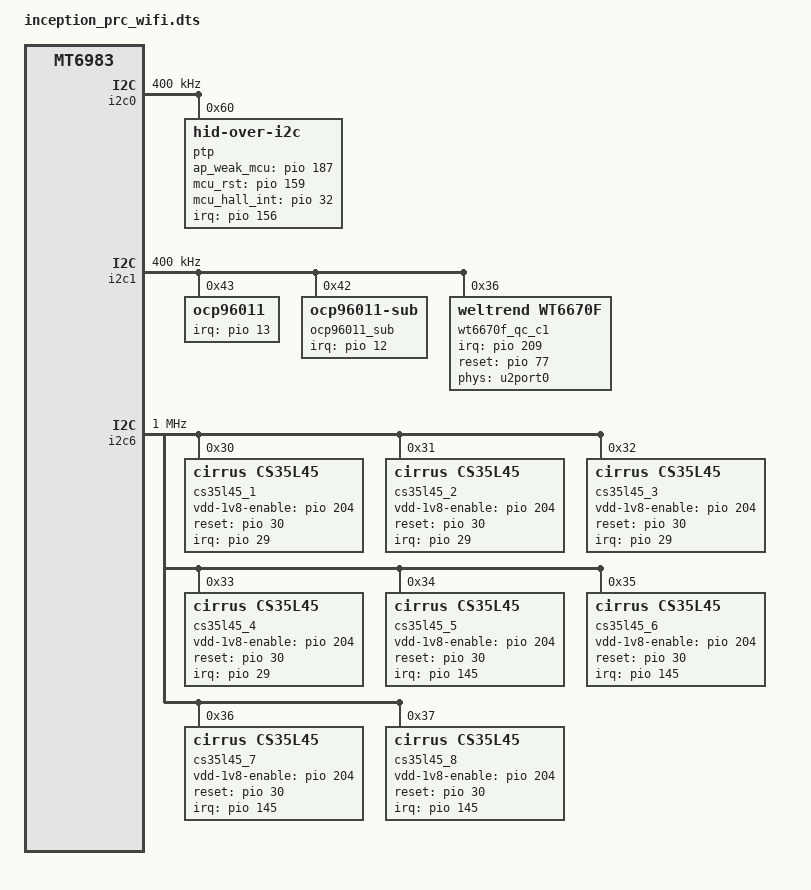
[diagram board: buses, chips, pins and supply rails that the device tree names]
// SPDX-License-Identifier: (GPL-2.0 OR MIT)
/*
 * Copyright (C) 2020 MediaTek Inc.
 */
/dts-v1/;
/plugin/;
#include <dt-bindings/interrupt-controller/arm-gic.h>
#include <dt-bindings/interrupt-controller/irq.h>
#include <dt-bindings/gpio/gpio.h>
#include <dt-bindings/pinctrl/mt6983-pinfunc.h>
#include <dt-bindings/clock/mt6983-clk.h>
#include <dt-bindings/phy/phy.h>

&i2c0 {
	status="okay";
	clock-frequency = <400000>;
	ptp: ptp@60 {
		compatible = "hid-over-i2c";
		reg = <0x60>;
		interrupt-parent = <&pio>;
		interrupts = <156 IRQ_TYPE_LEVEL_LOW 156 0>;
		hid-descr-addr = <0x0001>;
		/* mcu_en_gpio = <&pio 8 0>; */
		ap_weak_mcu = <&pio 187 0>;
		mcu_rst_gpio = <&pio 159 0>;
		mcu_hall_int_gpio = <&pio 32 0>;
		post-power-on-delay-ms = <100>;
	};
};

&i2c1 {
	status="okay";
        clock-frequency = <400000>;

	/*Type-C1 Analog Audio Switch*/
	ocp96011: ocp96011@43 {
		compatible = "ocp96011";
		reg = <0x43>;
		interrupt-parent = <&pio>;
		interrupts = <13 IRQ_TYPE_LEVEL_LOW 13 0>;
		status = "okay";
	};

	/*Type-C2 Analog Audio Switch*/
	ocp96011_sub: ocp96011_sub@42 {
		compatible = "ocp96011-sub";
		reg = <0x42>;
		interrupt-parent = <&pio>;
		interrupts = <12 IRQ_TYPE_LEVEL_LOW 12 0>;
		status = "okay";
	};

	wt6670f_qc_c1: wt6670f@36 {
		compatible = "weltrend,wt6670f";
		reg = <0x36>;

		interrupt-parent = <&pio>;
		interrupts = <209 0>;
		interrupt-names = "wt_irq";
		irq-gpio = <&pio 209 0>;
		wt6670f,reset-gpio = <&pio 77 0>;

		phys = <&u2port0 PHY_TYPE_USB2>;
		phy-names = "usb2-phy";
	};
};

&i2c6 {
	status = "ok";
	clock-frequency = <1000000>;

	/*CS35l45-1L*/
	cs35l45_1: cs35l45@30 {
		#sound-dai-cells = <1>;
		compatible = "cirrus,cs35l45";
		reg = <0x30>;
                vdd-1v8-enable-gpios = <&pio 204 0>;
		reset-gpios = <&pio 30 0>;
		interrupt-parent = <&pio>;
		interrupts = <29 IRQ_TYPE_LEVEL_LOW 29 0>;
		//pinctrl-names = "default";
		//pinctrl-0 = <&cs35l45_1_irq_default>, <&cs35l45_reset_default>, <&cs35l45_1v8_enable>;
		cirrus,use-tdm-slots;
		cirrus,asp-sdout-hiz-ctrl = <0x3>;
		cirrus,dsp-part-name = "SPK1L-cs35l45";
                cirrus,fast-switch = "SPK1L_fast_switch_music.txt", "SPK1L_fast_switch_ring.txt", "SPK1L_fast_switch_voice.txt", "SPK1L_fast_switch_dp.txt";
		cirrus,gpio-ctrl1 {
			gpio-ctrl = <0x2>;
		};

		cirrus,gpio-ctrl2 {
			gpio-ctrl = <0x02>;
		};
                cirrus,bst-bpe-inst-config {
                        bst-bpe-inst-thld = <0x46 0x50 0x55 0x5A 0>;
			bst-bpe-inst-ilim = <0 0x04 0x0C 0x2B 0x2C>;
			bst-bpe-inst-atk-rate = <0 0x1 0x6 0x6 0>;
			bst-bpe-inst-hold-time = <0x2 0x2 0x2 0x2 0>;
			bst-bpe-inst-rls-rate = <0x06 0x06 0x06 0x06 0>;
                };
                cirrus,bst-bpe-misc-config {
                        bst-bpe-inst-inf-hold-rls = <0x0>;
                        bst-bpe-il-lim-mode = <0x1>;
                        bst-bpe-out-opmode-sel = <0x1>;
                        bst-bpe-inst-l3-byp = <0x0>;
                        bst-bpe-inst-l2-byp = <0x1>;
                        bst-bpe-inst-l1-byp = <0x0>;
                        bst-bpe-filt-sel = <0x0>;
                };
	};

	/*CS35l45-1H*/
	cs35l45_2: cs35l45@31 {
		#sound-dai-cells = <1>;
		compatible = "cirrus,cs35l45";
		reg = <0x31>;
                vdd-1v8-enable-gpios = <&pio 204 0>;
		reset-gpios = <&pio 30 0>;
		interrupt-parent = <&pio>;
		interrupts = <29 IRQ_TYPE_LEVEL_LOW 29 0>;
		//pinctrl-names = "default";
		//pinctrl-0 = <&cs35l45_1_irq_default>, <&cs35l45_reset_default>, <&cs35l45_1v8_enable>;
		cirrus,use-tdm-slots;
		cirrus,asp-sdout-hiz-ctrl = <0x3>;
		cirrus,dsp-part-name = "SPK1H-cs35l45";
                cirrus,fast-switch = "SPK1H_fast_switch_music.txt", "SPK1H_fast_switch_ring.txt", "SPK1H_fast_switch_voice.txt", "SPK1H_fast_switch_dp.txt";
		cirrus,gpio-ctrl1 {
			gpio-ctrl = <0x2>;
		};

		cirrus,gpio-ctrl2 {
			gpio-ctrl = <0x02>;
		};
                cirrus,bst-bpe-inst-config {
                        bst-bpe-inst-thld = <0x46 0x50 0x55 0x5A 0>;
			bst-bpe-inst-ilim = <0 0x04 0x0C 0x2B 0x2C>;
			bst-bpe-inst-atk-rate = <0 0x1 0x6 0x6 0>;
			bst-bpe-inst-hold-time = <0x2 0x2 0x2 0x2 0>;
			bst-bpe-inst-rls-rate = <0x06 0x06 0x06 0x06 0>;
                };
                cirrus,bst-bpe-misc-config {
                        bst-bpe-inst-inf-hold-rls = <0x0>;
                        bst-bpe-il-lim-mode = <0x1>;
                        bst-bpe-out-opmode-sel = <0x1>;
                        bst-bpe-inst-l3-byp = <0x0>;
                        bst-bpe-inst-l2-byp = <0x1>;
                        bst-bpe-inst-l1-byp = <0x0>;
                        bst-bpe-filt-sel = <0x0>;
                };
	};

	/*CS35l45-2L*/
	cs35l45_3: cs35l45@32 {
		#sound-dai-cells = <1>;
		compatible = "cirrus,cs35l45";
		reg = <0x32>;
                vdd-1v8-enable-gpios = <&pio 204 0>;
		reset-gpios = <&pio 30 0>;
		interrupt-parent = <&pio>;
		interrupts = <29 IRQ_TYPE_LEVEL_LOW 29 0>;
		//pinctrl-names = "default";
		//pinctrl-0 = <&cs35l45_1_irq_default>, <&cs35l45_reset_default>, <&cs35l45_1v8_enable>;
		cirrus,use-tdm-slots;
		cirrus,asp-sdout-hiz-ctrl = <0x3>;
		cirrus,dsp-part-name = "SPK2L-cs35l45";
                cirrus,fast-switch = "SPK2L_fast_switch_music.txt", "SPK2L_fast_switch_ring.txt", "SPK2L_fast_switch_voice.txt", "SPK2L_fast_switch_dp.txt";
		cirrus,gpio-ctrl1 {
			gpio-ctrl = <0x2>;
		};

		cirrus,gpio-ctrl2 {
			gpio-ctrl = <0x02>;
		};
                cirrus,bst-bpe-inst-config {
                        bst-bpe-inst-thld = <0x46 0x50 0x55 0x5A 0>;
			bst-bpe-inst-ilim = <0 0x04 0x0C 0x2B 0x2C>;
			bst-bpe-inst-atk-rate = <0 0x1 0x6 0x6 0>;
			bst-bpe-inst-hold-time = <0x2 0x2 0x2 0x2 0>;
			bst-bpe-inst-rls-rate = <0x06 0x06 0x06 0x06 0>;
                };
                cirrus,bst-bpe-misc-config {
                        bst-bpe-inst-inf-hold-rls = <0x0>;
                        bst-bpe-il-lim-mode = <0x1>;
                        bst-bpe-out-opmode-sel = <0x1>;
                        bst-bpe-inst-l3-byp = <0x0>;
                        bst-bpe-inst-l2-byp = <0x1>;
                        bst-bpe-inst-l1-byp = <0x0>;
                        bst-bpe-filt-sel = <0x0>;
                };
	};

	/*CS35l45-2H*/
	cs35l45_4: cs35l45@33 {
		#sound-dai-cells = <1>;
		compatible = "cirrus,cs35l45";
		reg = <0x33>;
                vdd-1v8-enable-gpios = <&pio 204 0>;
		reset-gpios = <&pio 30 0>;
		interrupt-parent = <&pio>;
		interrupts = <29 IRQ_TYPE_LEVEL_LOW 29 0>;
		//pinctrl-names = "default";
		//pinctrl-0 = <&cs35l45_1_irq_default>, <&cs35l45_reset_default>, <&cs35l45_1v8_enable>;
		cirrus,use-tdm-slots;
		cirrus,asp-sdout-hiz-ctrl = <0x3>;
		cirrus,dsp-part-name = "SPK2H-cs35l45";
                cirrus,fast-switch = "SPK2H_fast_switch_music.txt", "SPK2H_fast_switch_ring.txt", "SPK2H_fast_switch_voice.txt", "SPK2H_fast_switch_dp.txt";
		cirrus,gpio-ctrl1 {
			gpio-ctrl = <0x2>;
		};

		cirrus,gpio-ctrl2 {
			gpio-ctrl = <0x02>;
		};
                cirrus,bst-bpe-inst-config {
                        bst-bpe-inst-thld = <0x46 0x50 0x55 0x5A 0>;
			bst-bpe-inst-ilim = <0 0x04 0x0C 0x2B 0x2C>;
			bst-bpe-inst-atk-rate = <0 0x1 0x6 0x6 0>;
			bst-bpe-inst-hold-time = <0x2 0x2 0x2 0x2 0>;
			bst-bpe-inst-rls-rate = <0x06 0x06 0x06 0x06 0>;
                };
                cirrus,bst-bpe-misc-config {
                        bst-bpe-inst-inf-hold-rls = <0x0>;
                        bst-bpe-il-lim-mode = <0x1>;
                        bst-bpe-out-opmode-sel = <0x1>;
                        bst-bpe-inst-l3-byp = <0x0>;
                        bst-bpe-inst-l2-byp = <0x1>;
                        bst-bpe-inst-l1-byp = <0x0>;
                        bst-bpe-filt-sel = <0x0>;
                };
	};

	/*CS35l45-3L*/
	cs35l45_5: cs35l45@34 {
		#sound-dai-cells = <1>;
		compatible = "cirrus,cs35l45";
		reg = <0x34>;
                vdd-1v8-enable-gpios = <&pio 204 0>;
		reset-gpios = <&pio 30 0>;
		interrupt-parent = <&pio>;
		interrupts = <145 IRQ_TYPE_LEVEL_LOW 145 0>;
		//pinctrl-names = "default";
		//pinctrl-0 = <&cs35l45_1_irq_default>, <&cs35l45_reset_default>, <&cs35l45_1v8_enable>;
		cirrus,use-tdm-slots;
		cirrus,asp-sdout-hiz-ctrl = <0x3>;
		cirrus,dsp-part-name = "SPK3L-cs35l45";
                cirrus,fast-switch = "SPK3L_fast_switch_music.txt", "SPK3L_fast_switch_ring.txt", "SPK3L_fast_switch_voice.txt", "SPK3L_fast_switch_dp.txt";
		cirrus,gpio-ctrl1 {
			gpio-ctrl = <0x2>;
		};

		cirrus,gpio-ctrl2 {
			gpio-ctrl = <0x02>;
		};
                cirrus,bst-bpe-inst-config {
                        bst-bpe-inst-thld = <0x41 0x46 0x4B 0x50 0>;
			bst-bpe-inst-ilim = <0 0x04 0x0C 0x2B 0x2C>;
			bst-bpe-inst-atk-rate = <0 0x1 0x6 0x6 0>;
			bst-bpe-inst-hold-time = <0x2 0x2 0x2 0x2 0>;
			bst-bpe-inst-rls-rate = <0x06 0x06 0x06 0x06 0>;
                };
                cirrus,bst-bpe-misc-config {
                        bst-bpe-inst-inf-hold-rls = <0x0>;
                        bst-bpe-il-lim-mode = <0x1>;
                        bst-bpe-out-opmode-sel = <0x1>;
                        bst-bpe-inst-l3-byp = <0x0>;
                        bst-bpe-inst-l2-byp = <0x1>;
                        bst-bpe-inst-l1-byp = <0x0>;
                        bst-bpe-filt-sel = <0x0>;
                };
	};

	/*CS35l45-3H*/
	cs35l45_6: cs35l45@35 {
		#sound-dai-cells = <1>;
		compatible = "cirrus,cs35l45";
		reg = <0x35>;
                vdd-1v8-enable-gpios = <&pio 204 0>;
		reset-gpios = <&pio 30 0>;
		interrupt-parent = <&pio>;
		interrupts = <145 IRQ_TYPE_LEVEL_LOW 145 0>;
		//pinctrl-names = "default";
		//pinctrl-0 = <&cs35l45_1_irq_default>, <&cs35l45_reset_default>, <&cs35l45_1v8_enable>;
		cirrus,use-tdm-slots;
		cirrus,asp-sdout-hiz-ctrl = <0x3>;
		cirrus,dsp-part-name = "SPK3H-cs35l45";
                cirrus,fast-switch = "SPK3H_fast_switch_music.txt", "SPK3H_fast_switch_ring.txt", "SPK3H_fast_switch_voice.txt", "SPK3H_fast_switch_dp.txt";
		cirrus,gpio-ctrl1 {
			gpio-ctrl = <0x2>;
		};

		cirrus,gpio-ctrl2 {
			gpio-ctrl = <0x02>;
		};
                cirrus,bst-bpe-inst-config {
                        bst-bpe-inst-thld = <0x41 0x46 0x4B 0x50 0>;
			bst-bpe-inst-ilim = <0 0x04 0x0C 0x2B 0x2C>;
			bst-bpe-inst-atk-rate = <0 0x1 0x6 0x6 0>;
			bst-bpe-inst-hold-time = <0x2 0x2 0x2 0x2 0>;
			bst-bpe-inst-rls-rate = <0x06 0x06 0x06 0x06 0>;
                };
                cirrus,bst-bpe-misc-config {
                        bst-bpe-inst-inf-hold-rls = <0x0>;
                        bst-bpe-il-lim-mode = <0x1>;
                        bst-bpe-out-opmode-sel = <0x1>;
                        bst-bpe-inst-l3-byp = <0x0>;
                        bst-bpe-inst-l2-byp = <0x1>;
                        bst-bpe-inst-l1-byp = <0x0>;
                        bst-bpe-filt-sel = <0x0>;
                };
	};

	/*CS35l45-4L*/
	cs35l45_7: cs35l45@36 {
		#sound-dai-cells = <1>;
		compatible = "cirrus,cs35l45";
		reg = <0x36>;
                vdd-1v8-enable-gpios = <&pio 204 0>;
		reset-gpios = <&pio 30 0>;
		interrupt-parent = <&pio>;
		interrupts = <145 IRQ_TYPE_LEVEL_LOW 145 0>;
		//pinctrl-names = "default";
		//pinctrl-0 = <&cs35l45_1_irq_default>, <&cs35l45_reset_default>, <&cs35l45_1v8_enable>;
		cirrus,use-tdm-slots;
		cirrus,asp-sdout-hiz-ctrl = <0x3>;
		cirrus,dsp-part-name = "SPK4L-cs35l45";
                cirrus,fast-switch = "SPK4L_fast_switch_music.txt", "SPK4L_fast_switch_ring.txt", "SPK4L_fast_switch_voice.txt", "SPK4L_fast_switch_dp.txt";
		cirrus,gpio-ctrl1 {
			gpio-ctrl = <0x2>;
		};

		cirrus,gpio-ctrl2 {
			gpio-ctrl = <0x02>;
		};
                cirrus,bst-bpe-inst-config {
                        bst-bpe-inst-thld = <0x41 0x46 0x4B 0x50 0>;
			bst-bpe-inst-ilim = <0 0x04 0x0C 0x2B 0x2C>;
			bst-bpe-inst-atk-rate = <0 0x1 0x6 0x6 0>;
			bst-bpe-inst-hold-time = <0x2 0x2 0x2 0x2 0>;
			bst-bpe-inst-rls-rate = <0x06 0x06 0x06 0x06 0>;
                };
                cirrus,bst-bpe-misc-config {
                        bst-bpe-inst-inf-hold-rls = <0x0>;
                        bst-bpe-il-lim-mode = <0x1>;
                        bst-bpe-out-opmode-sel = <0x1>;
                        bst-bpe-inst-l3-byp = <0x0>;
                        bst-bpe-inst-l2-byp = <0x1>;
                        bst-bpe-inst-l1-byp = <0x0>;
                        bst-bpe-filt-sel = <0x0>;
                };
	};

	/*CS35l45-4H*/
	cs35l45_8: cs35l45@37 {
		#sound-dai-cells = <1>;
		compatible = "cirrus,cs35l45";
		reg = <0x37>;
                vdd-1v8-enable-gpios = <&pio 204 0>;
		reset-gpios = <&pio 30 0>;
		interrupt-parent = <&pio>;
		interrupts = <145 IRQ_TYPE_LEVEL_LOW 145 0>;
		//pinctrl-names = "default";
		//pinctrl-0 = <&cs35l45_1_irq_default>, <&cs35l45_reset_default>, <&cs35l45_1v8_enable>;
		cirrus,use-tdm-slots;
		cirrus,asp-sdout-hiz-ctrl = <0x3>;
		cirrus,dsp-part-name = "SPK4H-cs35l45";
                cirrus,fast-switch = "SPK4H_fast_switch_music.txt", "SPK4H_fast_switch_ring.txt", "SPK4H_fast_switch_voice.txt", "SPK4H_fast_switch_dp.txt";
		cirrus,gpio-ctrl1 {
			gpio-ctrl = <0x2>;
		};

		cirrus,gpio-ctrl2 {
			gpio-ctrl = <0x02>;
		};
                cirrus,bst-bpe-inst-config {
                        bst-bpe-inst-thld = <0x41 0x46 0x4B 0x50 0>;
			bst-bpe-inst-ilim = <0 0x04 0x0C 0x2B 0x2C>;
			bst-bpe-inst-atk-rate = <0 0x1 0x6 0x6 0>;
			bst-bpe-inst-hold-time = <0x2 0x2 0x2 0x2 0>;
			bst-bpe-inst-rls-rate = <0x06 0x06 0x06 0x06 0>;
                };
                cirrus,bst-bpe-misc-config {
                        bst-bpe-inst-inf-hold-rls = <0x0>;
                        bst-bpe-il-lim-mode = <0x1>;
                        bst-bpe-out-opmode-sel = <0x1>;
                        bst-bpe-inst-l3-byp = <0x0>;
                        bst-bpe-inst-l2-byp = <0x1>;
                        bst-bpe-inst-l1-byp = <0x0>;
                        bst-bpe-filt-sel = <0x0>;
                };
	};
};

&chosen {
	bootargs_ext = "console=tty0 root=/dev/ram \
	androidboot.hardware=mt8798 \
	firmware_class.path=/vendor/firmware \
	allow_mismatched_32bit_el0";
};
&product_region {
        country = "PRC";
        province = "PRC";
        city = "PRC";
};
&odm {
	vibrator0:vibrator@0 {
		compatible = "mediatek,vibrator";
		vib_timer = <25>;
		vib_limit = <9>;
		vib_vol= <9>;
	};

	hall_switch {
		compatible = "hall-switch";
		hall,irq-gpio = <&pio 31 0x00>;
	};

};

&mtk_leds {
	compatible = "mediatek,disp-leds";

	backlight {
		led_mode = <4>;
		gate_enable = <1>;
		pwm_config = <0 1 0 0 0>;
	};
};

&connfem {
#if 1 /* Enable epa_elna node to support Wifi & BT ePA/eLNA FEM on customer load */
	epa_elna {
		/*parts = <&wlan7207h &wlan7205c>;*/
		parts = <&qm42195 &qm45197>;
		wifi {
			flags-0 {
				/*open-loop;*/
			};
		};

		bt {
			flags-0 {
				/* choose one of: epa_elna / epa / elna / bypass */
				epa_elna;
			};
		};
	};
#endif

	epa_elna_mtk {
		parts = <&nofem &nofem>,		/* [0]iPA/iLNA */
			<&wlan7207h &wlan7205c_laa>,	/* [1]ePA/eLNA - Closed-Loop, LAA 4x4 */
			<&wlan7207h &wlan7205c>,	/* [2]ePA/eLNA - Open Loop */
			<&wlan7207h &wlan7205c>,	/* [3]ePA/eLNA - Closed-Loop */
			<&wlan7207h &wlan7205c_laa>,	/* [4]ePA/eLNA - Closed-Loop, LAA 4x4 */
			<&wlan7207h &wlan7205c>,	/* [5]ePA/eLNA - Closed-Loop + BT Bypass */
			<&wlan7207h &wlan7205c>,	/* [6]ePA/eLNA - Open Loop + BT Bypass */
			<&qm42195 &qm45197_laa>,	/* [7]Qorvo eFEM - Closed-Loop, LAA 4x4 */
			<&qm42195 &qm45197>,		/* [8]Qorvo eFEM - Open Loop */
			<&qm42195 &qm45197>;		/* [9]Qorvo eFEM - Closed-Loop */

		hwid {
			gpio = <&pio 203 0x0>;
		};

		wifi {
			flags-1 {
				laa;
			};
			flags-2 {
				open-loop;
			};
			flags-4 {
				laa;
			};
			flags-6 {
				open-loop;
			};
			flags-7 {
				laa;
			};
			flags-8 {
				open-loop;
			};
		};

		bt {
			flags-1 {
				/* choose one of: epa_elna / epa / elna / bypass */
				epa_elna;
			};
			flags-2 {
				epa_elna;
			};
			flags-3 {
				epa_elna;
			};
			flags-4 {
				epa_elna;
			};
			flags-5 {
				bypass;
			};
			flags-6 {
				bypass;
			};
			flags-7 {
				epa_elna;
			};
			flags-8 {
				epa_elna;
			};
			flags-9 {
				epa_elna;
			};
		};
	};
};

/* GPS GPIO standardization start */
&pio {
	gps_pins_default: gps_default {
	};

	gps_l1_lna_pins_ol: gps_l1_lna@0 {
		pins_cmd_dat {
			pinmux = <PINMUX_GPIO16__FUNC_GPIO16>;
			output-low;
		};
	};
	gps_l1_lna_pins_dsp_ctrl: gps_l1_lna@1 {
		pins_cmd_dat {
			pinmux = <PINMUX_GPIO16__FUNC_GPS_L1_ELNA_EN>;
		};
	};
	gps_l1_lna_pins_oh: gps_l1_lna@2 {
		pins_cmd_dat {
			pinmux = <PINMUX_GPIO16__FUNC_GPIO16>;
			output-high;
		};
	};

	gps_l5_lna_pins_ol: gps_l5_lna@0 {
		pins_cmd_dat {
			pinmux = <PINMUX_GPIO17__FUNC_GPIO17>;
			output-low;
		};
	};
	gps_l5_lna_pins_dsp_ctrl: gps_l5_lna@1 {
		pins_cmd_dat {
			pinmux = <PINMUX_GPIO17__FUNC_GPS_L5_ELNA_EN>;
		};
	};
	gps_l5_lna_pins_oh: gps_l5_lna@2 {
		pins_cmd_dat {
			pinmux = <PINMUX_GPIO17__FUNC_GPIO17>;
			output-high;
		};
	};
};

&gps {
	pinctrl-names = "default",
		"gps_l1_lna_disable",
		"gps_l1_lna_dsp_ctrl",
		"gps_l1_lna_enable",
		"gps_l5_lna_disable",
		"gps_l5_lna_dsp_ctrl",
		"gps_l5_lna_enable";
	pinctrl-0 = <&gps_pins_default>;
	pinctrl-1 = <&gps_l1_lna_pins_ol>;
	pinctrl-2 = <&gps_l1_lna_pins_dsp_ctrl>;
	pinctrl-3 = <&gps_l1_lna_pins_oh>;
	pinctrl-4 = <&gps_l5_lna_pins_ol>;
	pinctrl-5 = <&gps_l5_lna_pins_dsp_ctrl>;
	pinctrl-6 = <&gps_l5_lna_pins_oh>;
	status = "okay";
};
/* GPS GPIO standardization end */

&i2c6 {
	spk1: speaker_amp@5c {
		compatible = "richtek,rt5512";
		#sound-dai-cells = <0>;
		reg = <0x5c>;
		status = "disable";
		sound-name-prefix = "Left";
	};

	spk2: speaker_amp@5d {
		compatible = "richtek,rt5512";
		#sound-dai-cells = <0>;
		reg = <0x5d>;
		status = "disable";
		sound-name-prefix = "Right";
	};
};

&i2c3 {
        status = "okay";
        clock-frequency = <400000>;

        ctn730: ctn730@28 {
                compatible ="nxp,ctn730";
                reg = <0x28>;
                status = "disable";
                interrupt-gpios = <&pio 189 0>;
                rst-gpios = <&pio 35 0>;
                enable-gpios = <&pio 63 0>;
		pen-hall-gpio28 = <&pio 28 0>;
                pen-hall-gpio33 = <&pio 33 0>;
                //panel = <&dsi_samsung_2k_dsc_cmd>;
        };
};

&spi7 {
	pinctrl-names = "default";
	pinctrl-0 = <&spi_pins>;
	mediatek,pad-select = <1>;
	status = "okay";
        fingerprint@0 {
                compatible = "goodix,fp";
		spi-mode = <0>;
		spi-max-frequency = <5000000>;
		reg = <0>;
                status = "disabled";
        };
    spi-test@0 {
        compatible = "mtk,spi-test";
        reg = <0>;
        spi-max-frequency = <5000000>;
        interrupt-parent = <&pio>;
        interrupts = <198 IRQ_TYPE_EDGE_FALLING>;
        //spi-cpha;
        status = "okay";
    };
};

&goodix_fp {
	interrupt-parent = <&pio>;
	interrupts = <9 IRQ_TYPE_EDGE_RISING 9 0>;
	pinctrl-names = "default", "reset_high", "reset_low";
        pinctrl-0 = <&fingerprint_default>;
        pinctrl-1 = <&fingerprint_reset_high>;
        pinctrl-2 = <&fingerprint_reset_low>;

	status = "disabled";
};

&pio {
        fingerprint_default: state_default {
        };
        fingerprint_reset_high: state_reset_high {
                pins_cmd_dat {
                        pinmux = <PINMUX_GPIO69__FUNC_GPIO69>;
                        slew-rate = <1>;
                        output-high;
                };
        };
        fingerprint_reset_low: state_reset_low {
                pins_cmd_dat {
                        pinmux = <PINMUX_GPIO69__FUNC_GPIO69>;
                        slew-rate = <1>;
                        output-low;
                };
        };

	spi_pins: fp_spi {
		pins_cmd_dat {
			pinmux = <PINMUX_GPIO168__FUNC_SPI7_B_MI>,
                                 <PINMUX_GPIO169__FUNC_SPI7_B_CSB>,
                                 <PINMUX_GPIO170__FUNC_SPI7_B_MO>,
                                 <PINMUX_GPIO171__FUNC_SPI7_B_CLK>;
			drive-strength = <3>;
			bias-disable;
                };
        };
};

&i2c7{
        status = "okay";
        clock-frequency = <400000>;
        lt7911ux: lt7911ux@43 {
                compatible ="scalar,lt7911ux_u2";
                reg = <0x43>;
		/* lt7911ux GPIO */
                scalar-power-1v1= <&pio 190 0>;
                scalar-power-1v8= <&pio 150 0>;
                scalar-power-3v3= <&pio 37 0>;
                scalar-rst= <&pio 195 0>;
                scaler-irq= <&pio 5 0>;
		/* mipi/i2s mux */
                scalar-i2s-mux1= <&pio 206 0>;
                scalar-i2s-mux2= <&pio 207 0>;
                scalar-mipi-mux= <&pio 68 0>;
		/* S528F GPIO */
                scalar-bridge-ic-gpio1 = <&pio 27 0>; /* rst */
                scalar-bridge-ic-gpio2 = <&pio 61 0>; /* power en */
		s528f-download = <&pio 26 0>; /* force download */
		s528f-usb-sel = <&pio 148 0>; /* usb switch */
		s528f-int-mux = <&pio 205 0>; /* tp int/rst mux */
		/* Panel GPIO */
                panel-power-en = <&mt6373_pio 11 0>;
                panel-reset = <&pio 86 0>;
                region = <2>; /* PRC */
                status = "okay";
        };
};

&sound {   
	cirrus,spk-max-devs = <8>;
        cirrus,spk-devs = <&cs35l45_1>, <&cs35l45_2>, <&cs35l45_3>, <&cs35l45_4>, <&cs35l45_5>, <&cs35l45_6>, <&cs35l45_7>, <&cs35l45_8>;
        cirrus,spk-dev-prefix = "SPK1L", "SPK1H", "SPK2L", "SPK2H", "SPK3L", "SPK3H", "SPK4L", "SPK4H";
};

/* usb typec mux start */
&pio {

	ps_enable: ps_enable {
		pins_cmd_dat {
			/* pinmux = <PINMUX_GPIO204__FUNC_GPIO204>; */
			output-high;
		};
	};

	ps_disable: ps_disable {
		pins_cmd_dat {
			/* pinmux = <PINMUX_GPIO204__FUNC_GPIO204>; */
			output-low;
		};
	};

};

&mt6375_typec {
	port {
		tcpc_typec_usb: endpoint@0 {
			remote-endpoint = <&ssusb_mux>;
		};
	};
};

&typec_mux_switch {
	orientation-switch;
	mode-switch;
	accessory;
	port {
		ssusb_mux: endpoint@0 {
			remote-endpoint = <&tcpc_typec_usb>;
		};
	};
};

&ps5170 {
	pinctrl-names = "enable", "disable";
	pinctrl-0 = <&ps_enable>;
	pinctrl-1 = <&ps_disable>;
	status = "okay";
};

&usb_dp_selector {
	status = "okay";
};

&i2c1 {
        ps5169: ps5169@30 {
                compatible = "parade,ps5169";
                reg = <0x30>;
                status = "okay";
        };
};

/* usb typec mux end */

&pio {
	mtkfb_pins_lcd_bias_enp1: lcd_bias_enp1_gpio {
		pins_cmd_dat {
			pinmux = <PINMUX_GPIO84__FUNC_GPIO84>;
			slew-rate = <1>;
			output-high;
		};
	};

	mtkfb_pins_lcd_bias_enp0: lcd_bias_enp0_gpio {
		pins_cmd_dat {
			pinmux = <PINMUX_GPIO84__FUNC_GPIO84>;
			slew-rate = <1>;
			output-low;
		};
	};

	mtkfb_pins_lcd_bias_enn1: lcd_bias_enn1_gpio {
		pins_cmd_dat {
			pinmux = <PINMUX_GPIO84__FUNC_GPIO84>;
			slew-rate = <1>;
			output-high;
		};
	};

	mtkfb_pins_lcd_bias_enn0: lcd_bias_enn0_gpio {
		pins_cmd_dat {
			pinmux = <PINMUX_GPIO84__FUNC_GPIO84>;
			slew-rate = <1>;
			output-low;
		};
	};

	mtkfb_pins_lcm_rst_out1_gpio: lcm_rst_out1_gpio {
		pins_cmd_dat {
			pinmux = <PINMUX_GPIO86__FUNC_GPIO86>;
			slew-rate = <1>;
			output-high;
		};
	};

	mtkfb_pins_lcm_rst_out0_gpio: lcm_rst_out0_gpio {
		pins_cmd_dat {
			pinmux = <PINMUX_GPIO86__FUNC_GPIO86>;
			slew-rate = <1>;
			output-low;
		};
	};
	mtkfb_pins_lcm_dsi_te: lcm_dsi_te {
		pins_cmd_dat {
			pinmux = <PINMUX_GPIO85__FUNC_DSI_TE>;
		};
	};

	mtkfb_pins_lcm_led_en1: lcm_led_en1_gpio {
		pins_cmd_dat {
			pinmux = <PINMUX_GPIO68__FUNC_GPIO68>;
			slew-rate = <1>;
			output-high;
		};
	};

	mtkfb_pins_lcm_led_en0: lcm_led_en0_gpio {
		pins_cmd_dat {
			pinmux = <PINMUX_GPIO68__FUNC_GPIO68>;
			slew-rate = <1>;
			output-low;
		};
	};
};

&mtkfb {
	pinctrl-names = "lcd_bias_enp1_gpio", "lcd_bias_enp0_gpio",
		"lcd_bias_enn1_gpio", "lcd_bias_enn0_gpio",
		"lcm_rst_out1_gpio", "lcm_rst_out0_gpio",
		"mode_te_te", "lcm_led_en1_gpio", "lcm_led_en0_gpio";
	pinctrl-0 = <&mtkfb_pins_lcd_bias_enp1>;
	pinctrl-1 = <&mtkfb_pins_lcd_bias_enp0>;
	pinctrl-2 = <&mtkfb_pins_lcd_bias_enn1>;
	pinctrl-3 = <&mtkfb_pins_lcd_bias_enn0>;
	pinctrl-4 = <&mtkfb_pins_lcm_rst_out1_gpio>;
	pinctrl-5 = <&mtkfb_pins_lcm_rst_out0_gpio>;
	pinctrl-6 = <&mtkfb_pins_lcm_dsi_te>;
	pinctrl-7 = <&mtkfb_pins_lcm_led_en1>;
	pinctrl-8 = <&mtkfb_pins_lcm_led_en0>;

	status = "okay";
};
&dispsys_config {
	pinctrl-names =
		"lcm_rst_out1_gpio", "lcm_rst_out0_gpio",
		"mode_te_te";
	pinctrl-0 = <&mtkfb_pins_lcm_rst_out1_gpio>;
	pinctrl-1 = <&mtkfb_pins_lcm_rst_out0_gpio>;
	pinctrl-2 = <&mtkfb_pins_lcm_dsi_te>;
	status = "okay";
};

&dsi0 {
	status = "okay";
	#address-cells = <1>;
	#size-cells = <0>;
	panel1@0 {
		compatible = "edo,hx5329,cmd,144hz";
		reg = <0>;
		reset-gpios = <&pio 86 0>;
		switch_en-gpios = <&pio 68 0>;
		tp_1v8_en-gpios = <&pio 89 0>;
		esd-gpio = <&pio 19 0>;
		mt6373_io11-gpios = <&mt6373_pio 11 0>;
		pinctrl-names = "default";
		port {
			panel_in: endpoint {
				remote-endpoint = <&dsi_out>;
			};
		};
	};
	ports {
			port@0 {
					reg = <0>;
					dsi_out: endpoint {
						remote-endpoint = <&panel_in>;
					};
			};
			port@1 {
					reg = <1>;
					master_out: endpoint {
						remote-endpoint = <&slave_in>;
					};
			};
	};
};

&dsi1 {
	mediatek,dual-dsi-slave;
	status = "okay";
	ports {
			port@1 {
					reg = <1>;
					slave_in: endpoint {
						remote-endpoint = <&master_out>;
					};
			};
	};
};
&mipi_tx_config1 {
		status = "okay";
};
/* CONNSYS TCXO GPIO start */
&consys {
	tcxo_support = "false";
	pinctrl-names = "default", "conninfra_tcxo_set", "conninfra_tcxo_clr";
	pinctrl-0 = <&conninfra_pins_default>;
	pinctrl-1 = <&conninfra_pins_tcxo_set>;
	pinctrl-2 = <&conninfra_pins_tcxo_clr>;
	status = "okay";
};

&pio {
	conninfra_pins_default: conninfra_pins_default {
	};
	conninfra_pins_tcxo_set: conninfra_tcxo_set@gpio {
		pins_cmd_dat {
			pinmux = <PINMUX_GPIO159__FUNC_CONN_TCXOENA_REQ>;
		};
	};
	conninfra_pins_tcxo_clr: conninfra_tcxo_clr@gpio {
		pins_cmd_dat {
			pinmux = <PINMUX_GPIO159__FUNC_GPIO159>;
		};
	};
};
/* CONNSYS TCXO GPIO end */

&pdc {
	pd_vbus_upper_bound = <9000000>;
};

&mmlsys_config {
	racing-enable;
};

&ispdvfs {
	en_vb = <1>;
};

/* USB VBUS GPIO start */
&odm {
	usb_p0_vbus: regulator@0 {
		compatible = "regulator-fixed";
		regulator-name = "otg_vbus0";
		regulator-min-microvolt = <5000000>;
		regulator-max-microvolt = <5000000>;
		gpio = <&pio 155 GPIO_ACTIVE_HIGH>;
		enable-active-high;
	};

	usb_p1_vbus: regulator@1 {
		compatible = "regulator-fixed";
		regulator-name = "vbus1";
		regulator-min-microvolt = <5000000>;
		regulator-max-microvolt = <5000000>;
		gpio = <&pio 208 GPIO_ACTIVE_HIGH>;
		enable-active-high;
	};
};
/* USB VBUS GPIO end */

&extcon_usb {
	vbus-supply = <&usb_p0_vbus>;
	vbus-voltage;
	vbus-current;
	charger = <&wt6670f_qc_c1>;
};
&extcon_usb1 {
	vbus-supply = <&usb_p1_vbus>;
	vbus-voltage;
	vbus-current;
	tcpc = "type_c_port1";
	mediatek,bypss-typec-sink = <1>;
};

&ssusb {
	maximum-speed = "super-speed";
};

&i2c9 {
	status="okay";
        clock-frequency = <400000>;

	wt6670f_qc_c2: wt6670f_c2@36 {
		compatible = "weltrend,wt6670f_c2";
		reg = <0x36>;

		interrupt-parent = <&pio>;
		interrupts = <20 0>;
		interrupt-names = "wt_irq_c2";
		irq-gpio = <&pio 20 0>;
		wt6670f,reset-gpio = <&pio 32 0>;

		phys = <&u2port1 PHY_TYPE_USB2>;
		phy-names = "usb2-phy";
	};
};

&i2c10 {
	status="okay";
        clock-frequency = <400000>;

	battery: bq27xxx-battery@55 {
		compatible = "ti,bq27541";
		reg = <0x55>;
		charger = <&mt6375_chg>;
		status = "disable";
	};
};

&pe {
	gauge = <&battery>;
};

&pe2 {
	gauge = <&battery>;
};

&pdc {
	gauge = <&battery>;
};

&pe4 {
	gauge = <&battery>;
};

&pe5 {
	gauge = <&battery>;
};

&charger {
	gauge = <&battery>;
};

&i2c11 {
	clock-frequency = <1000000>;
	rt1711_typec: rt1711h@4e {
		compatible = "richtek,rt1711h";
		reg = <0x4e>;
		status = "okay";

		rt-tcpc,name = "type_c_port1"; /* tcpc_device's name */
		rt-tcpc,role_def = <5>; /* 0: Unknown, 1: SNK, 2: SRC */
					/* 3: DRP, 4: Try.SRC, 5: Try.SNK */
		rt-tcpc,rp_level = <0>; /* 0: Default, 1: 1.5, 2: 3.0 */
		rt-tcpc,vconn_supply = <1>;  /* 0: Never, 1: Always, */
					     /* 2: EMarkOnly, 3: StartOnly */
		rt1711pd,intr_gpio = <&pio 14 0x0>;
		rt1711pd,intr_gpio_num = <14>;
		charger = <&mt6375_chg>;
		pd-data {
			pd,vid = <0x29cf>;
			pd,pid = <0x1711>;
			pd,source-cap-ext = /bits/ 8 <0xcf 0x29 0x11 0x17
						      0x00 0x00 0x00 0x00
						      0x00 0x00 0x00 0x00
						      0x00 0x00 0x00 0x00
						      0x00 0x00 0x00 0x00
						      0x00 0x00 0x01 0x02
						      0x00>;
			pd,mfrs = "RichtekTCPC";

			/*
			 *	VSAFE5V = 0, MAX_POWER = 1, CUSTOM = 2,
			 *	MAX_POWER_LV = 0x21, MAX_POWER_LVIC = 0x31
			 *	MAX_POWER_HV = 0x41, MAX_POWER_HVIC = 0x51
			 */
			pd,charging_policy = <0x31>;

			/*
			 * Fixed 5V, 500 mA <0x00019032>
			 * Fixed 5V, 1A <0x00019064>
			 * Fixed 5V, 2A <0x000190c8>
			 * Fixed 5V, 3A <0x0001912c>
			 * Fixed 9V, 500 mA <0x0002d032>
			 * Fixed 9V, 1A <0x0002d064>
			 * Fixed 9V, 2A <0x0002d0c8>
			 * Fixed 9V, 3A <0x0002d12c>
			 * Variable 5-9V, 1A <0x8642d064>
			 * Variable 5-9V, 2A <0x8642d0c8>
			 * Variable 5-9V, 3A <0x8642d12c>
			 */
			pd,source-pdo-size = <1>;
			pd,source-pdo-data = <0x00019032>;
			pd,sink-pdo-size = <1>;
			pd,sink-pdo-data = <0x0001912c>;

			/*
			 * No DP, host + device
			 *	pd,id-vdo-size = <6>;
			 *	pd,id-vdo-data = <0xd14029cf 0x0 0x17110000
						  0x61000000 0x0 0x41000000>;
			 * With DP
			 *	pd,id-vdo-size = <6>;
			 *	pd,id-vdo-data = <0xd54029cf 0x0 0x17110000
						  0x61000000 0x0 0x41000000>;
			 */

			pd,id-vdo-size = <6>;
			pd,id-vdo-data = <0x954029cf 0x0 0x17110000
                                         0x60000000 0x0 0x41000001>;
			bat,nr = <1>;
			pd,country_nr = <0>;

			bat-info0 {
				bat,vid = <0x29cf>;
				bat,pid = <0x1711>;
				bat,mfrs = "bat1";
				bat,design_cap = <3000>;
			};

			//bat-info1 {
			//	bat,vid = <0x8abc>;
			//	bat,pid = <0x5234>;
			//	bat,mfrs = "bat2";
			//	bat,design_cap = <4000>;
			//};

			//country0 {
			//	pd,country_code = <0x5457>;
			//	pd,country_len = <2>; /* max len = 26 */
			//	pd,country_data = <0xff 0xff>;
			//};

			//country1 {
			//	pd,country_code = <0x5553>;
			//	pd,country_len = <3>; /* max len = 26 */
			//	pd,country_data = <0xf1 0xf2 0xf3>;
			//};
		};
		dpm_caps {
			local_dr_power;
			local_dr_data;
			//local_ext_power;
			local_usb_comm;
			//local_usb_suspend;
			//local_high_cap;
			//local_give_back;
			local_no_suspend;
			local_vconn_supply;

			// attempt_discover_cable_dfp;
			attempt_enter_dp_mode;
			attempt_discover_cable;
			// attempt_discover_id;
			// attempt_discover_svid;

			/* 0: disable, 1: prefer_snk, 2: prefer_src */
			pr_check = <0>;
			//pr_reject_as_source;
			//pr_reject_as_sink;
			//pr_check_gp_source;
			//pr_check_gp_sink;

			/* 0: disable, 1: prefer_ufp, 2: prefer_dfp */
			dr_check = <1>;
			//dr_reject_as_dfp;
			//dr_reject_as_ufp;
		};
		displayport {
			/* connection type = "both", "ufp_d", "dfp_d" */
			1st_connection = "ufp_d";
			2nd_connection = "ufp_d";
			signal,dp_v13;
			//signal,dp_gen2;
			//usbr20_not_used;
			typec,receptacle;
			ufp_d {
				pin_assignment,mode_c;
				pin_assignment,mode_d;
				pin_assignment,mode_e;
			};
			dfp_d {
				//pin_assignment,mode_c;
				//pin_assignment,mode_d;
				//pin_assignment,mode_e;
			};
		};
	};
};

&mddriver{

	ref_args = "md_disable";
};

&mt6375_typec{
	tcpc,rp_level = <1>;
	/delete-property/ tcpc,notifier_supply_num;
	/delete-property/ boot_mode;
};

&mt6375_pd_data {
	pd,source-cap-ext = /bits/ 8 <0xcf 0x29 0x75 0x63
				      0x00 0x00 0x00 0x00
				      0x00 0x00 0x00 0x00
				      0x00 0x00 0x00 0x00
				      0x00 0x00 0x00 0x00
				      0x00 0x00 0x01 0x07
				      0x00>;
	pd,charging_policy= <0x31>;
	pd,source-pdo-data = <0x00019096>; /* 5V, 1500 mA */
	pd,sink-pdo-size = <1>;
	pd,sink-pdo-data = <0x0001912c>;
	pd,id-vdo-size = <6>;
	pd,id-vdo-data = <0xd54029cf 0x0 0x63750000
			  0x61000000 0x0 0x41000000>;
	/delete-property/ pd,country_nr;
};

&mt6375_dpm_caps {
	/delete-property/ usbr20_not_used;
};

&mt6375_dfp_d {
	/delete-property/ pin_assignment,mode_f;
};

/* Microtrust(TEEI)utos real driver*/

&utos{
   microtrust,real-drv=<1>;
};
/*svp start*/
&mtee_svp {
    mtee:MTEE {
             compatible = "mediatek,mtk_svp_on_mtee_support";
        };
    svp:SecureVideoPath {
            compatible = "mediatek,mtk_sec_video_path_support";
        };
};


#include <inception_prc_wifi/cust.dtsi>
#include "mediatek/cust_mt6983_touch_1080x2400.dtsi"
#include "mediatek/cust_mt6983_camera_v4l2.dtsi"
#include "mediatek/wl2864c.dtsi"
